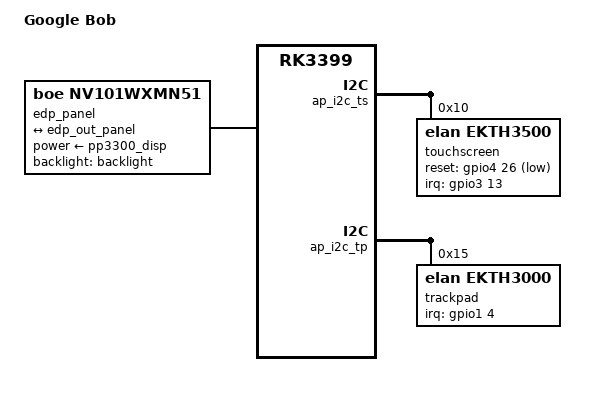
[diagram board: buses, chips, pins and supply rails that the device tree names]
// SPDX-License-Identifier: (GPL-2.0+ OR MIT)
/*
 * Google Gru-Bob Rev 4+ board device tree source
 *
 * Copyright 2018 Google, Inc
 */

/dts-v1/;
#include "rk3399-gru-chromebook.dtsi"

/ {
	model = "Google Bob";
	compatible = "google,bob-rev13", "google,bob-rev12",
		     "google,bob-rev11", "google,bob-rev10",
		     "google,bob-rev9", "google,bob-rev8",
		     "google,bob-rev7", "google,bob-rev6",
		     "google,bob-rev5", "google,bob-rev4",
		     "google,bob", "google,gru", "rockchip,rk3399";
	chassis-type = "convertible";

	edp_panel: edp-panel {
		compatible = "boe,nv101wxmn51", "simple-panel";
		backlight = <&backlight>;
		power-supply = <&pp3300_disp>;

		ports {
			panel_in_edp: endpoint {
				remote-endpoint = <&edp_out_panel>;
			};
		};
	};
};

&ap_i2c_ts {
	touchscreen: touchscreen@10 {
		compatible = "elan,ekth3500";
		reg = <0x10>;
		interrupt-parent = <&gpio3>;
		interrupts = <13 IRQ_TYPE_LEVEL_LOW>;
		pinctrl-names = "default";
		pinctrl-0 = <&touch_int_l &touch_reset_l>;
		reset-gpios = <&gpio4 26 GPIO_ACTIVE_LOW>;
	};
};

&ap_i2c_tp {
	trackpad: trackpad@15 {
		compatible = "elan,ekth3000";
		reg = <0x15>;
		interrupt-parent = <&gpio1>;
		interrupts = <4 IRQ_TYPE_LEVEL_LOW>;
		pinctrl-names = "default";
		pinctrl-0 = <&trackpad_int_l>;
		wakeup-source;
	};
};

&dmc {
	rockchip,pd_idle_dis_freq = <800000000>;
	rockchip,sr_idle_dis_freq = <800000000>;
	rockchip,sr_mc_gate_idle_dis_freq = <800000000>;
};
